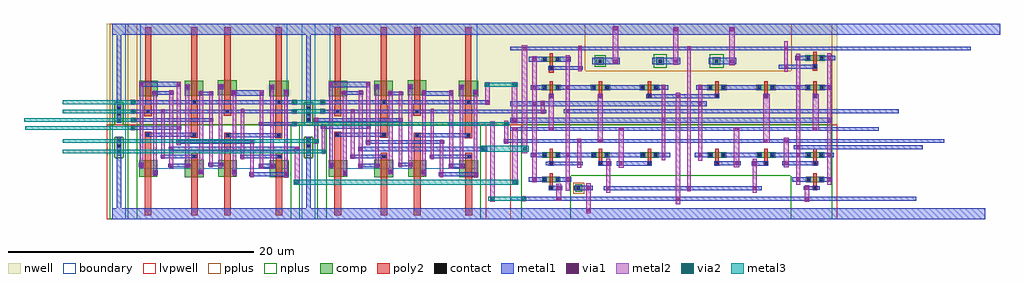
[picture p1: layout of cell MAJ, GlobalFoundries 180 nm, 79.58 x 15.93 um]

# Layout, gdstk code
from math import pi, radians
import gdstk
lib = gdstk.Library(unit=1e-6, precision=1e-09)
def R(c, l, rs):  # rectangles x0, y0, x1, y1
    for r in rs: c.add(gdstk.rectangle(r[:2], r[2:], *l))
def A(c, l, x, y, w, h, nx, ny, dx, dy):  # array of equal rectangles
    R(c, l, [(x+i*dx, y+j*dy, x+i*dx+w, y+j*dy+h) for i in range(nx) for j in range(ny)])
def P(c, l, *ps):  # polygons
    for p in ps: c.add(gdstk.Polygon(p, *l))
boundary = (0, 0)
nwell = (21, 0)
comp = (22, 0)
poly2 = (30, 0)
pplus = (31, 0)
nplus = (32, 0)
contact = (33, 0)
metal1 = (34, 0)
via1 = (35, 0)
metal2 = (36, 0)
via2 = (38, 0)
metal3 = (42, 0)
lvpwell = (204, 0)

nfet_1_1 = lib.new_cell('nfet$1$1')
R(nfet_1_1, comp, [(-0.42,0,0,0.42), (0,0,0.66,0.42), (0.66,0,1.08,0.42)])
R(nfet_1_1, poly2, [(0.19,-0.3,0.47,0.72), (0.15,0.72,0.51,1.08)])
R(nfet_1_1, nplus, [(-0.59,-0.24,1.25,0.66)])
R(nfet_1_1, contact, [(-0.32,0.1,-0.1,0.32), (0.76,0.1,0.98,0.32), (0.22,0.79,0.44,1.01)])
R(nfet_1_1, metal1, [(-0.4,0.02,-0.02,0.4), (0.68,0.02,1.06,0.4), (0.14,0.71,0.52,1.09)])

pfet_1 = lib.new_cell('pfet$1')
R(pfet_1, nwell, [(-0.9,-0.44,1.56,0.86)])
R(pfet_1, comp, [(-0.46,0,0,0.42), (0,0,0.66,0.42), (0.66,0,1.12,0.42)])
R(pfet_1, poly2, [(0.19,-0.3,0.47,0.72), (0.14,0.72,0.52,1.1)])
R(pfet_1, pplus, [(-0.63,-0.24,1.29,0.66)])
R(pfet_1, contact, [(-0.34,0.1,-0.12,0.32), (0.78,0.1,1,0.32), (0.22,0.8,0.44,1.02)])
R(pfet_1, metal1, [(-0.42,0.02,-0.04,0.4), (0.7,0.02,1.08,0.4), (0.14,0.72,0.52,1.1)])

maj = lib.new_cell('MAJ')
R(maj, boundary, [(0.56,0.1,1.68,16.025), (16.02,0.1,17.14,16.025), (2.85,4.22,14.85,16.025), (18.31,4.22,30.31,16.025)])
R(maj, nwell, [(0.13,7.8,2.11,16.025), (2.11,7.8,15.59,16.025), (15.59,7.8,17.57,16.025), (17.57,7.8,31.05,16.025), (31.05,7.8,59.685,16.025)])
R(maj, comp, [(38.3,2.33,38.9,2.93), (38.3,2.33,38.9,2.93), (6.475,3.515,8.015,4.93), (21.935,3.515,23.475,4.93), (13.41,3.52,14.945,4.905), (28.87,3.52,30.405,4.905), (2.755,3.54,4.25,4.91), (18.215,3.54,19.71,4.91), (9.225,3.545,10.72,4.91), (24.685,3.545,26.18,4.91), (57.145,5.145,57.465,5.525), (58.255,5.145,58.585,5.525), (0.94,5.275,1.3,6.705), (16.4,5.275,16.76,6.705), (0.94,8.05,1.3,9.48), (16.4,8.05,16.76,9.48), (13.38,10.135,14.97,11.37), (28.84,10.135,30.43,11.37), (2.755,10.14,4.285,11.375), (18.215,10.14,19.745,11.375), (6.47,10.15,8,11.385), (21.93,10.15,23.46,11.385), (9.19,10.19,10.705,11.425), (24.65,10.19,26.165,11.425), (44.93,12.69,45.53,13.29), (40.035,12.695,40.635,13.295), (49.53,12.695,50.13,13.295)])
R(maj, poly2, [(3.22,0.415,3.77,7.235), (7,0.415,7.55,5.5), (9.7,0.415,10.25,7.15), (13.895,0.415,14.445,5.495), (18.68,0.415,19.23,7.235), (22.46,0.415,23.01,5.5), (25.16,0.415,25.71,7.15), (29.355,0.415,29.905,5.495), (36.175,12.05,36.555,12.245), (57.675,12.19,58.055,12.345)])
P(maj, poly2, [(3.195,8.49),(3.195,9.365),(3.245,9.365),(3.245,15.73),(3.745,15.73),(3.745,9.365),(3.795,9.365),(3.795,8.49)],
  [(6.96,6.74),(6.96,9.38),(7.01,9.38),(7.01,15.73),(7.51,15.73),(7.51,9.38),(7.56,9.38),(7.56,6.74)],
  [(9.665,8.515),(9.665,9.42),(9.715,9.42),(9.715,15.73),(10.215,15.73),(10.215,9.42),(10.265,9.42),(10.265,8.515)],
  [(13.85,6.705),(13.85,9.37),(13.9,9.37),(13.9,15.73),(14.4,15.73),(14.4,9.37),(14.45,9.37),(14.45,6.705)],
  [(18.655,8.49),(18.655,9.365),(18.705,9.365),(18.705,15.73),(19.205,15.73),(19.205,9.365),(19.255,9.365),(19.255,8.49)],
  [(22.42,6.74),(22.42,9.38),(22.47,9.38),(22.47,15.73),(22.97,15.73),(22.97,9.38),(23.02,9.38),(23.02,6.74)],
  [(25.125,8.515),(25.125,9.42),(25.175,9.42),(25.175,15.73),(25.675,15.73),(25.675,9.42),(25.725,9.42),(25.725,8.515)],
  [(29.31,6.705),(29.31,9.37),(29.36,9.37),(29.36,15.73),(29.86,15.73),(29.86,9.37),(29.91,9.37),(29.91,6.705)],
  [(3.415,4.475),(3.415,4.475),(3.415,4.475),(3.415,4.475)],
  [(18.875,4.475),(18.875,4.475),(18.875,4.475),(18.875,4.475)])
R(maj, pplus, [(38.145,2.185,39.045,3.085), (0.78,5.115,1.46,6.785), (16.24,5.115,16.92,6.785), (2.55,7.8,15.82,16.025), (17.34,7.8,33.935,16.025)])
P(maj, pplus, [(0.36,7.8),(0.36,16.025),(1.88,16.025),(1.88,7.8),(1.46,7.8),(1.46,9.64),(0.78,9.64),(0.78,7.8)],
  [(15.82,7.8),(15.82,16.025),(17.34,16.025),(17.34,7.8),(16.92,7.8),(16.92,9.64),(16.24,9.64),(16.24,7.8)],
  [(33.935,7.8),(33.935,16.025),(39.12,16.025),(39.12,12.185),(55.94,12.185),(55.94,16.025),(59.265,16.025),(59.265,7.8)])
R(maj, nplus, [(2.55,0.1,15.15,7.8), (18.01,0.1,30.61,7.8), (49.29,12.425,50.41,13.545), (44.7,12.46,45.78,13.55), (39.89,12.545,40.795,13.445)])
P(maj, nplus, [(0.36,0.1),(0.36,6.785),(0.78,6.785),(0.78,5.115),(1.46,5.115),(1.46,6.785),(0.36,6.785),(0.36,7.8),(0.78,7.8),(0.78,9.64),(1.46,9.64),(1.46,7.8),(1.88,7.8),(1.88,0.1)],
  [(15.82,0.1),(15.82,6.785),(16.24,6.785),(16.24,5.115),(16.92,5.115),(16.92,6.785),(15.82,6.785),(15.82,7.8),(16.24,7.8),(16.24,9.64),(16.92,9.64),(16.92,7.8),(17.34,7.8),(17.34,0.1)],
  [(33.935,0.1),(33.935,7.8),(59.265,7.8),(59.265,0.1),(55.885,0.1),(55.885,3.635),(37.97,3.635),(37.97,0.1)])
A(maj, contact, 1.01, 5.475, 0.22, 0.22, 1, 3, 0, 0.47)
A(maj, contact, 16.47, 5.475, 0.22, 0.22, 1, 3, 0, 0.47)
A(maj, contact, 1.01, 8.12, 0.22, 0.22, 1, 3, 0, 0.47)
A(maj, contact, 16.47, 8.12, 0.22, 0.22, 1, 3, 0, 0.47)
R(maj, contact, [(38.455,2.545,38.675,2.765), (38.455,2.545,38.675,2.765), (14.62,3.64,14.84,3.86), (30.08,3.64,30.3,3.86), (3.96,3.8,4.18,4.02), (19.42,3.8,19.64,4.02), (7.71,3.835,7.93,4.055), (10.415,3.835,10.635,4.055), (23.17,3.835,23.39,4.055), (25.875,3.835,26.095,4.055), (13.48,4.35,13.7,4.57), (28.94,4.35,29.16,4.57), (6.585,4.37,6.805,4.59), (22.045,4.37,22.265,4.59), (2.825,4.39,3.045,4.61), (18.285,4.39,18.505,4.61), (9.295,4.455,9.515,4.675), (24.755,4.455,24.975,4.675), (14.075,5.1,14.295,5.32), (29.535,5.1,29.755,5.32), (7.135,5.105,7.355,5.325), (22.595,5.105,22.815,5.325), (14.015,6.815,14.235,7.035), (29.475,6.815,29.695,7.035), (9.875,6.84,10.095,7.06), (25.335,6.84,25.555,7.06), (7.14,6.875,7.36,7.095), (22.6,6.875,22.82,7.095), (3.375,6.88,3.595,7.1), (18.835,6.88,19.055,7.1), (9.835,8.775,10.055,8.995), (25.295,8.775,25.515,8.995), (3.37,8.79,3.59,9.01), (18.83,8.79,19.05,9.01), (14.05,9.525,14.27,9.745), (29.51,9.525,29.73,9.745), (7.155,9.535,7.375,9.755), (22.615,9.535,22.835,9.755), (7.71,10.225,7.93,10.445), (23.17,10.225,23.39,10.445), (10.415,10.265,10.635,10.485), (25.875,10.265,26.095,10.485), (3.96,10.28,4.18,10.5), (19.42,10.28,19.64,10.5), (14.615,10.34,14.835,10.56), (30.075,10.34,30.295,10.56), (13.48,10.735,13.7,10.955), (28.94,10.735,29.16,10.955), (6.585,10.745,6.805,10.965), (22.045,10.745,22.265,10.965), (9.29,10.795,9.51,11.015), (24.75,10.795,24.97,11.015), (2.83,11.005,3.05,11.225), (18.29,11.005,18.51,11.225), (40.235,12.87,40.455,13.09), (45.14,12.87,45.36,13.09), (49.73,12.87,49.95,13.09)])
R(maj, metal1, [(31.48,0.1,71.73,1), (33.03,1.595,66.11,1.945), (36.555,2.455,37.265,2.835), (40.66,2.46,53.51,2.795), (38.22,2.465,39.74,2.825), (38.22,2.465,39.74,2.825), (56.94,2.49,58.25,2.79), (34.525,3.145,35.635,3.525), (37.095,3.145,38,3.525), (56.03,3.145,57.135,3.525), (58.595,3.145,59.29,3.525), (11.75,3.59,14.93,3.91), (27.21,3.59,30.39,3.91), (3.885,3.715,4.265,4.095), (19.345,3.715,19.725,4.095), (10.34,3.745,10.72,4.125), (25.8,3.745,26.18,4.125), (7.63,3.755,8.01,4.135), (23.09,3.755,23.47,4.135), (12.53,4.3,13.84,4.62), (27.99,4.3,29.3,4.62), (2.75,4.315,3.13,4.695), (18.21,4.315,18.59,4.695), (5.155,4.33,6.935,4.62), (20.615,4.33,22.395,4.62), (8.41,4.42,9.6,4.705), (23.87,4.42,25.06,4.705), (40.555,4.455,41.265,4.835), (52.72,4.455,53.675,4.835), (41.695,4.465,44.56,4.83), (35.91,4.49,38.92,4.8), (49.66,4.49,51.805,4.81), (55.21,4.495,58.12,4.815), (11,5.05,14.37,5.35), (26.46,5.05,29.83,5.35), (4.535,5.065,7.455,5.365), (19.995,5.065,22.915,5.365), (34.71,5.145,35.635,5.525), (37.095,5.145,39.635,5.525), (41.09,5.145,43.75,5.525), (45.085,5.145,46.075,5.525), (48.05,5.145,49.515,5.525), (50.215,5.145,53.515,5.525), (54.59,5.145,57.135,5.525), (58.59,5.145,59.395,5.525), (5.185,5.65,15.84,5.985), (20.645,5.65,31.15,5.985), (56.12,5.785,66.67,6.12), (5.77,6.23,12.16,6.52), (21.23,6.23,27.62,6.52), (32.5,6.35,68.41,6.62), (9.81,6.78,14.31,7.09), (25.27,6.78,29.77,7.09), (3.305,6.83,7.435,7.13), (18.765,6.83,22.895,7.13), (2.07,7.405,6.195,7.675), (17.57,7.49,21.655,7.76), (12.515,7.725,15.62,8), (27.975,7.725,31.725,8), (33.03,7.965,59.26,8.355), (2.09,8.025,8.815,8.325), (17.015,8.025,24.275,8.325), (37.4,8.73,64.71,9.07), (2.07,8.74,15.63,9.04), (17.535,8.74,35.955,9.04), (33.03,9.32,49.04,9.695), (2.075,9.485,15.64,9.8), (17.53,9.485,31.355,9.785), (44.125,9.965,50.06,10.28), (10.33,10.165,12.94,10.59), (25.79,10.165,28.385,10.54), (7.62,10.195,8.82,10.485), (23.08,10.195,24.28,10.485), (3.83,10.245,5.57,10.535), (19.29,10.245,21.03,10.535), (14.54,10.26,14.92,10.64), (30,10.26,30.38,10.64), (34.7,10.645,35.615,11.025), (37.085,10.645,39.615,11.025), (41.115,10.645,43.66,11.025), (44.735,10.645,45.92,11.025), (48.185,10.645,49.115,11.025), (50.605,10.645,53.175,11.025), (54.57,10.645,57.115,11.025), (57.145,10.645,57.46,11.025), (58.255,10.645,58.585,11.025), (58.615,10.645,59.25,11.025), (13.405,10.66,13.785,11.04), (28.865,10.66,29.245,11.04), (6.505,10.67,6.885,11.05), (21.965,10.67,22.345,11.05), (9.22,10.71,9.6,11.09), (24.68,10.71,25.06,11.09), (18.22,10.87,21.625,11.31), (2.76,10.91,6.135,11.31), (36.105,12.28,38.94,12.585), (54.92,12.38,58.055,12.69), (39.69,12.73,41.965,13.24), (44.59,12.73,46.89,13.24), (49.185,12.73,51.465,13.24), (34.54,12.945,35.615,13.325), (37.065,12.945,37.935,13.325), (56.26,13.045,57.115,13.425), (57.145,13.045,57.46,13.385), (58.255,13.045,58.585,13.39), (58.615,13.045,59.515,13.425), (33.03,13.855,70.58,14.14), (1.68,15.125,16.02,16.025), (17.14,15.125,32.6,16.025), (32.6,15.125,72.95,16.025)])
P(maj, metal1, [(1.68,0.1),(1.68,1.005),(5.775,1.005),(5.775,0.995),(16.02,0.995),(16.02,0.1)],
  [(17.14,0.1),(17.14,1.005),(21.235,1.005),(21.235,0.995),(31.48,0.995),(31.48,0.1)],
  [(0.56,0.1),(0.56,1),(0.93,1),(0.93,6.83),(1.31,6.83),(1.31,1),(1.68,1),(1.68,0.1)],
  [(16.39,7.965),(16.39,15.125),(16.02,15.125),(16.02,16.025),(17.14,16.025),(17.14,15.125),(16.77,15.125),(16.77,7.965)],
  [(0.93,7.965),(0.93,15.125),(0.56,15.125),(0.56,16.025),(1.68,16.025),(1.68,15.125),(1.31,15.125),(1.31,7.965)],
  [(16.02,0.1),(16.02,1),(16.39,1),(16.39,6.83),(16.77,6.83),(16.77,1),(17.14,1),(17.14,0.1)],
  [(33.03,7.29),(33.03,7.61),(51.7,7.61),(51.7,7.6),(63.05,7.6),(63.05,7.29)],
  [(7.69,10.445),(7.69,10.445),(7.73,10.445),(7.73,10.445)],
  [(18.315,8.915),(18.315,8.915),(18.325,8.915),(18.325,8.915)],
  [(23.15,10.445),(23.15,10.445),(23.19,10.445),(23.19,10.445)],
  [(2.855,8.915),(2.855,8.915),(2.865,8.915),(2.865,8.915)])
R(maj, via1, [(39.275,0.69,39.535,0.95), (33.95,1.64,34.21,1.9), (36.835,1.645,37.095,1.905), (57.08,1.645,57.34,1.905), (46.525,1.66,46.785,1.92), (40.895,2.49,41.155,2.75), (52.83,2.49,53.09,2.75), (47.46,2.5,47.72,2.76), (36.835,2.51,37.095,2.77), (39.28,2.51,39.54,2.77), (39.28,2.51,39.54,2.77), (57.09,2.51,57.35,2.77), (34.895,3.2,35.155,3.46), (37.59,3.2,37.85,3.46), (58.885,3.2,59.145,3.46), (56.365,3.215,56.625,3.475), (11.84,3.615,12.1,3.875), (14.6,3.615,14.86,3.875), (27.3,3.615,27.56,3.875), (30.06,3.615,30.32,3.875), (3.94,3.78,4.2,4.04), (19.4,3.78,19.66,4.04), (10.4,3.81,10.66,4.07), (25.86,3.81,26.12,4.07), (7.695,3.815,7.955,4.075), (23.155,3.815,23.415,4.075), (12.61,4.33,12.87,4.59), (13.46,4.33,13.72,4.59), (28.07,4.33,28.33,4.59), (28.92,4.33,29.18,4.59), (6.565,4.345,6.825,4.605), (22.025,4.345,22.285,4.605), (5.25,4.355,5.51,4.615), (20.71,4.355,20.97,4.615), (2.805,4.37,3.065,4.63), (18.265,4.37,18.525,4.63), (8.485,4.425,8.745,4.685), (23.945,4.425,24.205,4.685), (9.275,4.43,9.535,4.69), (24.735,4.43,24.995,4.69), (40.9,4.505,41.16,4.765), (52.835,4.505,53.095,4.765), (41.905,4.52,42.165,4.78), (55.39,4.52,55.65,4.78), (38.54,4.525,38.8,4.785), (51.37,4.535,51.63,4.795), (11.07,5.075,11.33,5.335), (26.53,5.075,26.79,5.335), (4.595,5.085,4.855,5.345), (20.055,5.085,20.315,5.345), (34.895,5.2,35.155,5.46), (45.385,5.2,45.645,5.46), (37.575,5.205,37.835,5.465), (48.39,5.21,48.65,5.47), (56.375,5.21,56.635,5.47), (58.885,5.21,59.145,5.47), (15.51,5.685,15.77,5.945), (5.25,5.69,5.51,5.95), (20.71,5.69,20.97,5.95), (30.735,5.69,30.995,5.95), (56.385,5.815,56.645,6.075), (11.84,6.24,12.1,6.5), (27.3,6.24,27.56,6.5), (5.85,6.245,6.11,6.505), (21.31,6.245,21.57,6.505), (32.57,6.355,32.83,6.615), (38.55,6.355,38.81,6.615), (55.38,6.355,55.64,6.615), (40.225,6.36,40.485,6.62), (53.725,6.36,53.985,6.62), (41.935,7.31,42.195,7.57), (33.27,7.315,33.53,7.575), (57.74,7.315,58,7.575), (36.23,7.32,36.49,7.58), (51.36,7.32,51.62,7.58), (5.85,7.41,6.11,7.67), (2.145,7.415,2.405,7.675), (17.655,7.49,17.915,7.75), (21.295,7.49,21.555,7.75), (12.6,7.725,12.86,7.985), (28.06,7.725,28.32,7.985), (15.3,7.73,15.56,7.99), (31.395,7.73,31.655,7.99), (58.895,7.99,59.155,8.25), (33.23,8.025,33.49,8.285), (45.375,8.025,45.635,8.285), (2.16,8.045,2.42,8.305), (8.48,8.045,8.74,8.305), (23.94,8.045,24.2,8.305), (17.08,8.05,17.34,8.31), (4.595,8.755,4.855,9.015), (17.61,8.755,17.87,9.015), (20.055,8.755,20.315,9.015), (15.3,8.76,15.56,9.02), (35.54,8.76,35.8,9.02), (2.145,8.765,2.405,9.025), (11.07,8.765,11.33,9.025), (26.53,8.765,26.79,9.025), (37.6,8.775,37.86,9.035), (34.875,9.39,35.135,9.65), (35.525,9.39,35.785,9.65), (48.36,9.4,48.62,9.66), (31.03,9.5,31.29,9.76), (2.14,9.505,2.4,9.765), (17.605,9.505,17.865,9.765), (15.295,9.51,15.555,9.77), (46.565,9.995,46.825,10.255), (36.235,10,36.495,10.26), (40.23,10,40.49,10.26), (57.74,10.005,58,10.265), (53.73,10.01,53.99,10.27), (7.695,10.21,7.955,10.47), (8.475,10.21,8.735,10.47), (23.155,10.21,23.415,10.47), (23.935,10.21,24.195,10.47), (12.6,10.245,12.86,10.505), (28.06,10.245,28.32,10.505), (10.39,10.25,10.65,10.51), (25.85,10.25,26.11,10.51), (3.94,10.26,4.2,10.52), (19.4,10.26,19.66,10.52), (5.25,10.265,5.51,10.525), (20.71,10.265,20.97,10.525), (14.59,10.32,14.85,10.58), (30.05,10.32,30.31,10.58), (34.88,10.695,35.14,10.955), (45.385,10.705,45.645,10.965), (48.375,10.705,48.635,10.965), (58.9,10.705,59.16,10.965), (37.595,10.71,37.855,10.97), (56.37,10.71,56.63,10.97), (13.46,10.715,13.72,10.975), (28.92,10.715,29.18,10.975), (6.565,10.725,6.825,10.985), (22.025,10.725,22.285,10.985), (9.27,10.77,9.53,11.03), (24.73,10.77,24.99,11.03), (5.83,10.965,6.09,11.225), (21.29,10.965,21.55,11.225), (2.815,10.98,3.075,11.24), (18.275,10.98,18.535,11.24), (38.595,12.295,38.855,12.555), (55.375,12.405,55.635,12.665), (41.475,12.855,41.735,13.115), (46.375,12.855,46.635,13.115), (50.97,12.855,51.23,13.115), (34.875,13.005,35.135,13.265), (37.59,13.01,37.85,13.27), (58.9,13.11,59.16,13.37), (56.37,13.12,56.63,13.38), (55.375,13.865,55.635,14.125), (34.07,13.87,34.33,14.13), (38.585,13.87,38.845,14.13), (47.46,13.87,47.72,14.13), (50.97,15.41,51.23,15.67), (46.39,15.435,46.65,15.695), (41.47,15.515,41.73,15.775)])
P(maj, via1, [(20.715,5.47),(20.715,5.47),(20.715,5.47),(20.715,5.47)],
  [(5.255,5.47),(5.255,5.47),(5.255,5.47),(5.255,5.47)],
  [(40.39,3.78),(40.39,3.78),(40.39,3.78),(40.39,3.78)])
R(maj, metal2, [(39.23,0.565,39.575,3.025), (46.5,1.305,46.87,10.405), (57.045,1.51,57.38,2.86), (31.38,1.515,31.74,8.075), (33.9,1.575,34.28,1.955), (36.79,1.595,37.17,2.97), (40.865,2.245,41.19,5.01), (52.8,2.245,53.125,5.01), (47.445,2.37,47.735,14.205), (37.56,2.415,37.875,13.465), (56.345,2.9,56.66,13.585), (58.855,2.915,59.185,13.61), (33.185,2.92,33.645,7.605), (15.465,2.965,15.845,5.985), (34.83,3.09,35.185,13.395), (14.58,3.485,14.88,10.64), (30.04,3.485,30.34,10.64), (11.83,3.53,12.11,6.565), (27.29,3.53,27.57,6.565), (3.915,3.655,4.215,10.585), (10.38,3.655,10.68,10.595), (19.375,3.655,19.675,10.585), (25.84,3.655,26.14,10.595), (7.67,3.745,7.97,10.555), (23.13,3.745,23.43,10.555), (12.59,4.23,12.895,10.59), (13.44,4.23,13.74,11.05), (28.05,4.23,28.37,10.59), (28.9,4.23,29.2,11.05), (5.225,4.255,5.525,10.605), (20.685,4.255,20.985,10.605), (2.795,4.26,3.095,11.3), (18.255,4.26,18.555,11.3), (9.255,4.27,9.555,11.1), (24.715,4.27,25.015,11.1), (41.85,4.28,42.255,7.61), (6.54,4.285,6.835,11.11), (22,4.285,22.295,11.11), (38.495,4.305,38.82,6.675), (51.26,4.335,51.7,7.61), (8.46,4.34,8.77,10.53), (23.92,4.34,24.23,10.53), (55.315,4.34,55.73,6.73), (48.34,4.865,48.67,11.06), (11.06,5,11.34,9.09), (26.52,5,26.8,9.09), (4.57,5.015,4.87,9.075), (20.03,5.015,20.33,9.075), (17.645,5.415,17.925,7.82), (33.97,5.465,34.42,14.285), (30.675,5.63,31.055,6.01), (5.82,6.13,6.14,11.29), (21.28,6.13,21.605,11.29), (17.035,6.255,17.355,8.385), (32.52,6.265,32.845,8.13), (40.145,6.35,40.545,10.315), (53.64,6.35,54.165,10.29), (36.155,7.29,36.585,10.28), (57.675,7.29,58.16,10.3), (2.08,7.335,2.46,7.715), (15.25,7.675,15.63,8.055), (33.16,7.92,33.575,11.27), (2.115,8.005,2.495,8.385), (2.07,8.69,2.45,9.07), (15.25,8.69,15.63,9.07), (17.52,8.69,17.9,9.095), (35.495,8.695,35.84,9.75), (2.08,9.44,2.46,9.82), (15.245,9.44,15.625,9.82), (17.515,9.44,17.895,9.845), (30.98,9.44,31.34,11.27), (55.35,12.1,55.66,14.615), (38.575,12.16,38.865,14.22), (50.895,12.645,51.305,15.74), (46.315,12.67,46.725,15.765), (41.36,12.76,41.835,15.81)])
P(maj, metal2, [(45.355,4.91),(45.355,11.04),(45.665,11.04),(45.665,11.01),(45.67,11.01),(45.67,4.91)],
  [(5.46,7.515),(5.46,7.515),(5.46,7.515),(5.46,7.515)],
  [(5.235,7.735),(5.235,7.735),(5.235,7.735),(5.235,7.735)],
  [(8.415,6.665),(8.415,6.665),(8.415,6.665),(8.415,6.665)],
  [(2.1,9.06),(2.1,9.06),(2.1,9.06),(2.1,9.06)],
  [(20.92,7.515),(20.92,7.515),(20.92,7.515),(20.92,7.515)],
  [(20.695,7.735),(20.695,7.735),(20.695,7.735),(20.695,7.735)],
  [(23.875,6.665),(23.875,6.665),(23.875,6.665),(23.875,6.665)])
R(maj, via2, [(31.43,1.64,31.69,1.9), (33.955,1.64,34.215,1.9), (33.275,2.995,33.535,3.255), (15.505,3.015,15.765,3.275), (17.655,5.485,17.915,5.745), (30.735,5.69,30.995,5.95), (34.065,5.7,34.325,5.96), (17.07,6.345,17.33,6.605), (2.145,7.415,2.405,7.675), (32.55,7.72,32.81,7.98), (15.3,7.73,15.56,7.99), (2.16,8.045,2.42,8.305), (17.61,8.755,17.87,9.015), (15.3,8.76,15.56,9.02), (2.145,8.765,2.405,9.025), (2.14,9.505,2.4,9.765), (17.605,9.505,17.865,9.765), (15.295,9.51,15.555,9.77), (31.025,10.935,31.285,11.195), (33.24,10.94,33.5,11.2)])
R(maj, metal3, [(31.245,1.605,34.31,1.93), (15.365,2.925,33.665,3.31), (-3.465,5.46,18.005,5.755), (30.615,5.58,34.515,6.065), (-3.465,6.325,17.42,6.62), (-6.505,7.4,2.465,7.695), (15.2,7.7,32.925,8.02), (15.195,8.72,17.935,9.05), (-3.47,8.745,2.475,9.04), (15.19,9.47,17.935,9.8), (-3.485,9.48,2.495,9.785), (30.925,10.885,33.63,11.225)])
P(maj, metal3, [(-6.625,8.03),(-6.625,8.265),(-6.625,8.325),(2.51,8.325),(2.51,8.03)])
R(maj, lvpwell, [(0.13,0.1,2.11,7.8), (2.11,0.1,15.59,7.8), (15.59,0.1,17.57,7.8), (17.57,0.1,31.05,7.8), (33.03,0.1,59.685,7.8)])
maj.add(gdstk.Reference(nfet_1_1, (36.695,5.545), rotation=pi))
maj.add(gdstk.Reference(nfet_1_1, (58.195,3.545), rotation=pi))
maj.add(gdstk.Reference(nfet_1_1, (44.695,5.545), rotation=pi))
maj.add(gdstk.Reference(nfet_1_1, (54.195,5.545), rotation=pi))
maj.add(gdstk.Reference(nfet_1_1, (40.695,5.545), rotation=pi))
maj.add(gdstk.Reference(nfet_1_1, (58.195,5.545), rotation=pi))
maj.add(gdstk.Reference(nfet_1_1, (50.195,5.545), rotation=pi))
maj.add(gdstk.Reference(pfet_1, (36.695,13.345), rotation=pi))
maj.add(gdstk.Reference(pfet_1, (58.195,13.445), rotation=pi))
maj.add(gdstk.Reference(pfet_1, (58.195,11.045), rotation=pi))
maj.add(gdstk.Reference(pfet_1, (54.195,11.045), rotation=pi))
maj.add(gdstk.Reference(pfet_1, (50.195,11.045), rotation=pi))
maj.add(gdstk.Reference(pfet_1, (44.695,11.045), rotation=pi))
maj.add(gdstk.Reference(pfet_1, (40.695,11.045), rotation=pi))
maj.add(gdstk.Reference(pfet_1, (36.695,11.045), rotation=pi))
maj.add(gdstk.Reference(nfet_1_1, (36.695,3.545), rotation=pi))

lib.write_gds('MAJ.gds')
